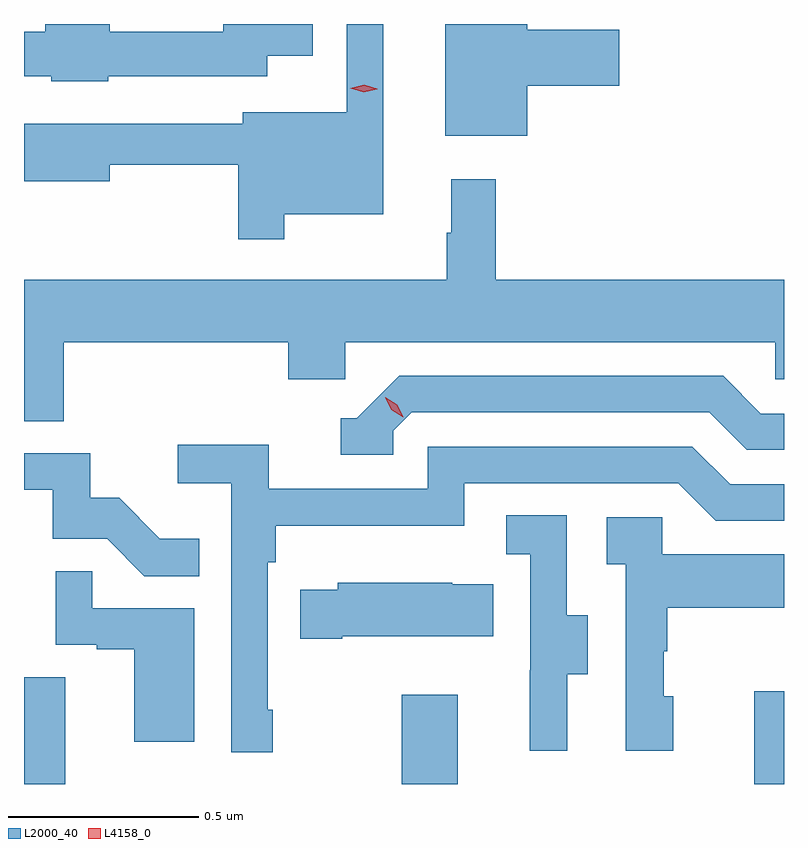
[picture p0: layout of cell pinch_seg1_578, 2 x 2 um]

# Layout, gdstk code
import gdstk
lib = gdstk.Library(unit=1e-6, precision=1e-09)
def R(c, l, rs):  # rectangles x0, y0, x1, y1
    for r in rs: c.add(gdstk.rectangle(r[:2], r[2:], *l))
def P(c, l, *ps):  # polygons
    for p in ps: c.add(gdstk.Polygon(p, *l))
L2000_40 = (2000, 40)
L4158_0 = (4158, 0)

pinch_seg1_578 = lib.new_cell('pinch_seg1_578')
R(pinch_seg1_578, L2000_40, [(1055.718,513.273,1055.827,513.554), (1056.712,513.273,1056.859,513.508), (1057.64,513.273,1057.718,513.517)])
P(pinch_seg1_578, L2000_40, [(1055.94,515.136),(1056.358,515.136),(1056.358,515.189),(1056.478,515.189),(1056.478,515.273),(1056.242,515.273),(1056.242,515.252),(1055.944,515.252),(1055.944,515.273),(1055.774,515.273),(1055.774,515.252),(1055.718,515.252),(1055.718,515.136),(1055.79,515.136),(1055.79,515.123),(1055.94,515.123)],
  [(1057.042,515.111),(1057.285,515.111),(1057.285,515.258),(1057.042,515.258),(1057.042,515.273),(1056.827,515.273),(1056.827,514.979),(1057.042,514.979)],
  [(1056.403,514.772),(1056.664,514.772),(1056.664,515.273),(1056.567,515.273),(1056.567,515.041),(1056.293,515.041),(1056.293,515.01),(1055.718,515.01),(1055.718,514.859),(1055.944,514.859),(1055.944,514.902),(1056.282,514.902),(1056.282,514.707),(1056.403,514.707)],
  [(1055.822,514.436),(1056.413,514.436),(1056.413,514.338),(1056.564,514.338),(1056.564,514.436),(1057.695,514.436),(1057.695,514.338),(1057.718,514.338),(1057.718,514.6),(1056.959,514.6),(1056.959,514.864),(1056.842,514.864),(1056.842,514.724),(1056.831,514.724),(1056.831,514.6),(1055.718,514.6),(1055.718,514.228),(1055.822,514.228)],
  [(1056.69,514.203),(1056.738,514.251),(1057.521,514.251),(1057.62,514.152),(1057.718,514.152),(1057.718,514.248),(1057.657,514.248),(1057.558,514.347),(1056.705,514.347),(1056.594,514.236),(1056.551,514.236),(1056.551,514.14),(1056.69,514.14)],
  [(1056.373,513.469),(1056.36,513.469),(1056.36,513.857),(1056.38,513.857),(1056.38,513.953),(1056.876,513.953),(1056.876,514.065),(1057.44,514.065),(1057.539,513.966),(1057.718,513.966),(1057.718,514.062),(1057.576,514.062),(1057.477,514.161),(1056.78,514.161),(1056.78,514.05),(1056.362,514.05),(1056.362,514.166),(1056.123,514.166),(1056.123,514.064),(1056.264,514.064),(1056.264,513.357),(1056.373,513.357)],
  [(1056.179,513.919),(1056.075,513.919),(1055.968,514.026),(1055.892,514.026),(1055.892,514.143),(1055.718,514.143),(1055.718,514.047),(1055.793,514.047),(1055.793,513.918),(1055.937,513.918),(1056.035,513.82),(1056.179,513.82)],
  [(1057.147,513.562),(1057.201,513.562),(1057.201,513.717),(1057.146,513.717),(1057.146,513.98),(1056.987,513.98),(1056.987,513.877),(1057.05,513.877),(1057.05,513.573),(1057.049,513.573),(1057.049,513.36),(1057.147,513.36)],
  [(1057.426,513.504),(1057.401,513.504),(1057.401,513.623),(1057.411,513.623),(1057.411,513.737),(1057.718,513.737),(1057.718,513.877),(1057.398,513.877),(1057.398,513.975),(1057.251,513.975),(1057.251,513.851),(1057.302,513.851),(1057.302,513.36),(1057.426,513.36)],
  [(1056.166,513.735),(1055.897,513.735),(1055.897,513.833),(1055.802,513.833),(1055.802,513.639),(1055.909,513.639),(1055.909,513.627),(1056.008,513.627),(1056.008,513.384),(1056.166,513.384)],
  [(1056.556,513.662),(1056.953,513.662),(1056.953,513.799),(1056.845,513.799),(1056.845,513.802),(1056.543,513.802),(1056.543,513.784),(1056.445,513.784),(1056.445,513.655),(1056.556,513.655)])
P(pinch_seg1_578, L4158_0, [(1056.716,514.238),(1056.685,514.258),(1056.668,514.29),(1056.668,514.291),(1056.669,514.291),(1056.7,514.271),(1056.716,514.238),(1056.716,514.238)],
  [(1056.612,515.093),(1056.577,515.104),(1056.577,515.104),(1056.577,515.104),(1056.613,515.113),(1056.648,515.102),(1056.648,515.102),(1056.648,515.101)])

lib.write_gds('pinch_seg1_578.gds')
